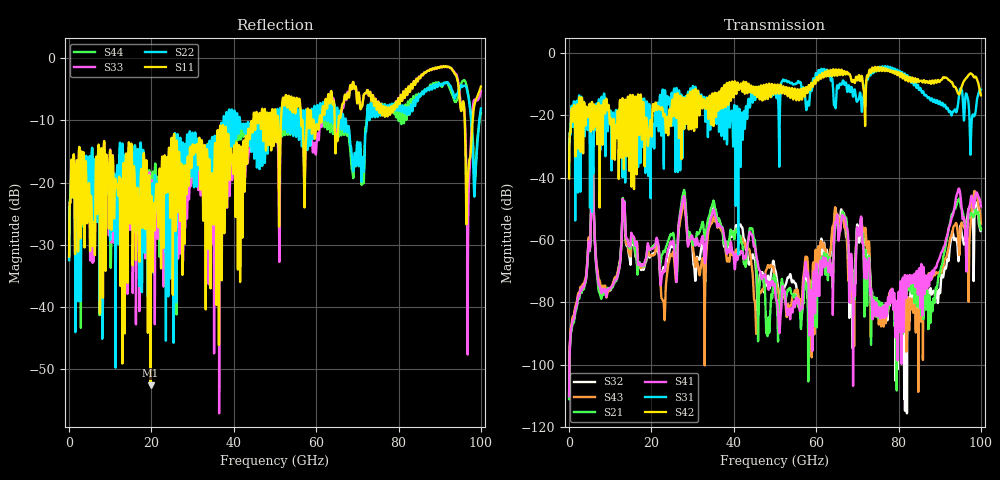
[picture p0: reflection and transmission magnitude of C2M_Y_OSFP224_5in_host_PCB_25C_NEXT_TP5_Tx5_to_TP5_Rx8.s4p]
# GHz S RI R 45
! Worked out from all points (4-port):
!   4000 points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, 25 MHz to 100 GHz, reference 45 ohm
!   strongest paths, dB at 25 MHz, 25.02 GHz, 50.02 GHz, 75.03 GHz, 100 GHz:
!     S42: -40.2, -15.3, -10.4, -4.4, -13.6
!     S31: -39.3, -13.4, -11.4, -5.3, -11.7
!     S41: -110.1, -61.3, -75.7, -83.5, -49.2
!     S21: -111.1, -58.5, -71.8, -85.1, -56.7
!     S43: -109.1, -64.9, -72.7, -81.4, -54.8
!     S32: -110.1, -62.1, -69.5, -83.1, -56.6
!   lowest |S11| = -52.6 dB at 19.8 GHz (marker M1), VSWR 1.00, Z = 45.2 - j0.127 ohm
!   |S11| at or under -10 dB: start of sweep to 44.74 GHz; 59.38 GHz to 60.78 GHz (1.401 GHz wide, 2.33 % of centre); 96.08 GHz to 98 GHz (1.929 GHz wide, 1.99 % of centre) (the widest 3 of 19)
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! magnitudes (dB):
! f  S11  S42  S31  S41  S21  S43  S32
! 25 MHz  -31.9  -40.2  -39.3  -110.1  -111.1  -109.1  -110.1
! 5.7 GHz  -29.5  -17.8  -30.4  -38.6  -38.5  -38.6  -38.5
! 7.65 GHz  -18.9  -18.4  -22.2  -76.0  -78.1  -74.4  -77.1
! 19.8 GHz  -52.6  -21.5  -37.5  -63.0  -62.9  -64.9  -65.1
! 66.4 GHz  -7.4  -6.7  -9.3  -51.9  -50.9  -51.1  -51.4
! 79.5 GHz  -7.3  -6.2  -5.8  -79.5  -94.2  -87.6  -83.3
! 100 GHz  -4.6  -13.6  -11.7  -49.2  -56.7  -54.8  -56.6
